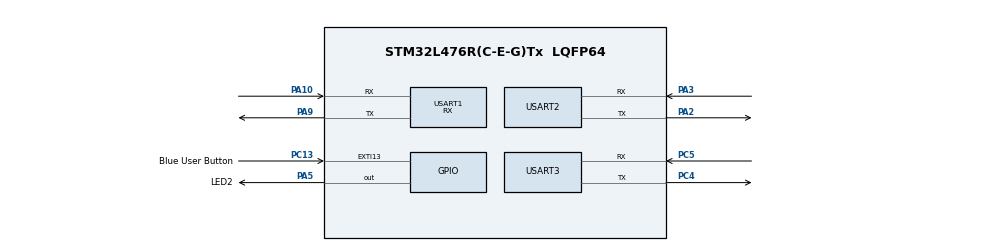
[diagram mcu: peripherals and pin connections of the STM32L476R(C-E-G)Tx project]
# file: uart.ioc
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FREERTOS.BinarySemaphores01=motorControlFlowSem,Dynamic,NULL
FREERTOS.Mutexes01=count_mutex,Dynamic,NULL
FREERTOS.Tasks01=defaultTask,0,128,StartDefaultTask,Default,NULL,Dynamic,NULL,NULL;motorCntrlTask,0,128,startMotorControlTask,Default,NULL,Dynamic,NULL,NULL
Mcu.Family=STM32L4
Mcu.Name=STM32L476R(C-E-G)Tx
Mcu.Package=LQFP64
NVIC.EXTI15_10_IRQn=true\:6\:0\:true\:false\:true\:false\:true\:true
NVIC.PriorityGroup=NVIC_PRIORITYGROUP_4
PA10.Mode=Asynchronous
PA10.Signal=USART1_RX
PA2.Mode=Asynchronous
PA2.Signal=USART2_TX
PA3.Mode=Asynchronous
PA3.Signal=USART2_RX
PA5.GPIO_Label=LED2
PA5.Signal=GPIO_Output
PA9.Mode=Asynchronous
PA9.Signal=USART1_TX
PC13.GPIO_Label=Blue User Button
PC13.Signal=GPXTI13
PC14-OSC32_IN\ (PC14).Mode=LSE-External-Oscillator
PC14-OSC32_IN\ (PC14).Signal=RCC_OSC32_IN
PC15-OSC32_OUT\ (PC15).Mode=LSE-External-Oscillator
PC15-OSC32_OUT\ (PC15).Signal=RCC_OSC32_OUT
PC4.Mode=Asynchronous
PC4.Signal=USART3_TX
PC5.Mode=Asynchronous
PC5.Signal=USART3_RX
PH0-OSC_IN\ (PH0).Mode=HSE-External-Oscillator
PH0-OSC_IN\ (PH0).Signal=RCC_OSC_IN
PH1-OSC_OUT\ (PH1).Mode=HSE-External-Oscillator
PH1-OSC_OUT\ (PH1).Signal=RCC_OSC_OUT
ProjectManager.HeapSize=0x200
ProjectManager.StackSize=0x400
ProjectManager.TargetToolchain=Makefile
RCC.HSE_VALUE=8000000
RCC.HSI_VALUE=16000000
RCC.MSI_VALUE=4000000
RCC.VCOOutputFreq_Value=32000000
STMicroelectronics.X-CUBE-BLE1.4.3.0.ApplicationCcWirelessJjApplication=SensorDemo
STMicroelectronics.X-CUBE-BLE1.4.3.0.BlueNRGAaMSCcWirelessJjController=true
STMicroelectronics.X-CUBE-BLE1.4.3.0.BlueNRGAaMSCcWirelessJjHCIIiTL=Basic
STMicroelectronics.X-CUBE-BLE1.4.3.0.BlueNRGAaMSCcWirelessJjHCIIiTLIiINTERFACE=UserBoard
STMicroelectronics.X-CUBE-BLE1.4.3.0.WirelessJjApplication.apiComponent0=Wireless\:HCI_TL
STMicroelectronics.X-CUBE-BLE1.4.3.0.WirelessJjApplication.apiComponent1=Wireless\:HCI_TL
STMicroelectronics.X-CUBE-BLE1.4.3.0.WirelessJjApplication.apiComponent2=Wireless\:HCI_TL_INTERFACE
STMicroelectronics.X-CUBE-BLE1.4.3.0.WirelessJjApplication.apiComponent3=Wireless\:HCI_TL_INTERFACE
STMicroelectronics.X-CUBE-BLE1.4.3.0.WirelessJjApplication.apiDoc0=Middlewares/ST/BlueNRG-MS/includes/hci.h
STMicroelectronics.X-CUBE-BLE1.4.3.0.WirelessJjApplication.apiDoc1=Middlewares/ST/BlueNRG-MS/doc/BlueNRG-MS_UserManual.chm
STMicroelectronics.X-CUBE-BLE1.4.3.0.WirelessJjApplication.apiDoc2=Middlewares/ST/BlueNRG-MS/hci/hci_tl_patterns/Template/hci_tl_interface.h
STMicroelectronics.X-CUBE-BLE1.4.3.0.WirelessJjApplication.apiDoc3=Middlewares/ST/BlueNRG-MS/doc/BlueNRG-MS_UserManual.chm
STMicroelectronics.X-CUBE-BLE1.4.3.0.WirelessJjApplication.cmp_version0=4.3.0
STMicroelectronics.X-CUBE-BLE1.4.3.0.WirelessJjApplication.component0=Wireless
STMicroelectronics.X-CUBE-BLE1.4.3.0.WirelessJjApplication.componentDoc0=Projects/Board_PN/Applications/SensorDemo/readme.txt
STMicroelectronics.X-CUBE-BLE1.4.3.0.WirelessJjApplication.description0=BLE sample applications for BlueNRG-MS module,SensorDemo sample application
STMicroelectronics.X-CUBE-BLE1.4.3.0.WirelessJjApplication.diagnostic0=This component should operate correctly.
STMicroelectronics.X-CUBE-BLE1.4.3.0.WirelessJjApplication.documentation0=Documentation/STMicroelectronics.X-CUBE-BLE1_GettingStarted.pdf
STMicroelectronics.X-CUBE-BLE1.4.3.0.WirelessJjApplication.group0=Application
STMicroelectronics.X-CUBE-BLE1.4.3.0.WirelessJjApplication.paramName0=ApplicationCcWirelessJjApplication
STMicroelectronics.X-CUBE-BLE1.4.3.0.WirelessJjApplication.sevirity0=none
STMicroelectronics.X-CUBE-BLE1.4.3.0.WirelessJjApplication.variant0=SensorDemo
STMicroelectronics.X-CUBE-BLE1.4.3.0.WirelessJjApplication_apiSize=4
STMicroelectronics.X-CUBE-BLE1.4.3.0.WirelessJjApplication_bundle=Application
STMicroelectronics.X-CUBE-BLE1.4.3.0.WirelessJjApplication_class=Wireless
STMicroelectronics.X-CUBE-BLE1.4.3.0.WirelessJjApplication_name=X-CUBE-BLE1
STMicroelectronics.X-CUBE-BLE1.4.3.0.WirelessJjApplication_size=1
STMicroelectronics.X-CUBE-BLE1.4.3.0.WirelessJjApplication_vendor=STMicroelectronics
STMicroelectronics.X-CUBE-BLE1.4.3.0.WirelessJjApplication_version=4.3.0
STMicroelectronics.X-CUBE-BLE1.4.3.0.WirelessJjBlueNRGAaMS.apiComponent0=Wireless\:HCI_TL
STMicroelectronics.X-CUBE-BLE1.4.3.0.WirelessJjBlueNRGAaMS.apiComponent1=Wireless\:HCI_TL
STMicroelectronics.X-CUBE-BLE1.4.3.0.WirelessJjBlueNRGAaMS.apiComponent2=Wireless\:HCI_TL_INTERFACE
STMicroelectronics.X-CUBE-BLE1.4.3.0.WirelessJjBlueNRGAaMS.apiComponent3=Wireless\:HCI_TL_INTERFACE
STMicroelectronics.X-CUBE-BLE1.4.3.0.WirelessJjBlueNRGAaMS.apiDoc0=Middlewares/ST/BlueNRG-MS/includes/hci.h
STMicroelectronics.X-CUBE-BLE1.4.3.0.WirelessJjBlueNRGAaMS.apiDoc1=Middlewares/ST/BlueNRG-MS/doc/BlueNRG-MS_UserManual.chm
STMicroelectronics.X-CUBE-BLE1.4.3.0.WirelessJjBlueNRGAaMS.apiDoc2=Middlewares/ST/BlueNRG-MS/hci/hci_tl_patterns/Template/hci_tl_interface.h
STMicroelectronics.X-CUBE-BLE1.4.3.0.WirelessJjBlueNRGAaMS.apiDoc3=Middlewares/ST/BlueNRG-MS/doc/BlueNRG-MS_UserManual.chm
STMicroelectronics.X-CUBE-BLE1.4.3.0.WirelessJjBlueNRGAaMS.cmp_version0=4.3.0
STMicroelectronics.X-CUBE-BLE1.4.3.0.WirelessJjBlueNRGAaMS.cmp_version1=4.3.0
STMicroelectronics.X-CUBE-BLE1.4.3.0.WirelessJjBlueNRGAaMS.cmp_version2=4.3.0
STMicroelectronics.X-CUBE-BLE1.4.3.0.WirelessJjBlueNRGAaMS.component0=Wireless
STMicroelectronics.X-CUBE-BLE1.4.3.0.WirelessJjBlueNRGAaMS.component1=Wireless
STMicroelectronics.X-CUBE-BLE1.4.3.0.WirelessJjBlueNRGAaMS.component2=Wireless
STMicroelectronics.X-CUBE-BLE1.4.3.0.WirelessJjBlueNRGAaMS.componentDoc1=Middlewares/ST/BlueNRG-MS/doc/BlueNRG-MS_UserManual.chm
STMicroelectronics.X-CUBE-BLE1.4.3.0.WirelessJjBlueNRGAaMS.description0=Host Controller Interface (HCI)
STMicroelectronics.X-CUBE-BLE1.4.3.0.WirelessJjBlueNRGAaMS.description1=Basic HCI Transport Layer (use a basic set of already implemented APIs)
STMicroelectronics.X-CUBE-BLE1.4.3.0.WirelessJjBlueNRGAaMS.description2=HCI Transport Layer Interface based on User Board definition (use a basic set of already implemented APIs)
STMicroelectronics.X-CUBE-BLE1.4.3.0.WirelessJjBlueNRGAaMS.diagnostic0=This component requires one or more component from the same SW pack to operate correctly
STMicroelectronics.X-CUBE-BLE1.4.3.0.WirelessJjBlueNRGAaMS.diagnostic1=This component should operate correctly.
STMicroelectronics.X-CUBE-BLE1.4.3.0.WirelessJjBlueNRGAaMS.diagnostic2=This component should operate correctly.
STMicroelectronics.X-CUBE-BLE1.4.3.0.WirelessJjBlueNRGAaMS.documentation0=Documentation/STMicroelectronics.X-CUBE-BLE1_GettingStarted.pdf
STMicroelectronics.X-CUBE-BLE1.4.3.0.WirelessJjBlueNRGAaMS.documentation1=Documentation/STMicroelectronics.X-CUBE-BLE1_GettingStarted.pdf
STMicroelectronics.X-CUBE-BLE1.4.3.0.WirelessJjBlueNRGAaMS.documentation2=Documentation/STMicroelectronics.X-CUBE-BLE1_GettingStarted.pdf
STMicroelectronics.X-CUBE-BLE1.4.3.0.WirelessJjBlueNRGAaMS.group0=Controller
STMicroelectronics.X-CUBE-BLE1.4.3.0.WirelessJjBlueNRGAaMS.group1=HCI_TL
STMicroelectronics.X-CUBE-BLE1.4.3.0.WirelessJjBlueNRGAaMS.group2=HCI_TL_INTERFACE
STMicroelectronics.X-CUBE-BLE1.4.3.0.WirelessJjBlueNRGAaMS.paramName0=BlueNRGAaMSCcWirelessJjController
STMicroelectronics.X-CUBE-BLE1.4.3.0.WirelessJjBlueNRGAaMS.paramName1=BlueNRGAaMSCcWirelessJjHCIIiTL
STMicroelectronics.X-CUBE-BLE1.4.3.0.WirelessJjBlueNRGAaMS.paramName2=BlueNRGAaMSCcWirelessJjHCIIiTLIiINTERFACE
STMicroelectronics.X-CUBE-BLE1.4.3.0.WirelessJjBlueNRGAaMS.sevirity0=minor
STMicroelectronics.X-CUBE-BLE1.4.3.0.WirelessJjBlueNRGAaMS.sevirity1=none
STMicroelectronics.X-CUBE-BLE1.4.3.0.WirelessJjBlueNRGAaMS.sevirity2=none
STMicroelectronics.X-CUBE-BLE1.4.3.0.WirelessJjBlueNRGAaMS.variant1=Basic
STMicroelectronics.X-CUBE-BLE1.4.3.0.WirelessJjBlueNRGAaMS.variant2=UserBoard
STMicroelectronics.X-CUBE-BLE1.4.3.0.WirelessJjBlueNRGAaMS_apiSize=4
STMicroelectronics.X-CUBE-BLE1.4.3.0.WirelessJjBlueNRGAaMS_bundle=BlueNRG-MS
STMicroelectronics.X-CUBE-BLE1.4.3.0.WirelessJjBlueNRGAaMS_class=Wireless
STMicroelectronics.X-CUBE-BLE1.4.3.0.WirelessJjBlueNRGAaMS_name=X-CUBE-BLE1
STMicroelectronics.X-CUBE-BLE1.4.3.0.WirelessJjBlueNRGAaMS_size=3
STMicroelectronics.X-CUBE-BLE1.4.3.0.WirelessJjBlueNRGAaMS_vendor=STMicroelectronics
STMicroelectronics.X-CUBE-BLE1.4.3.0.WirelessJjBlueNRGAaMS_version=4.3.0
STMicroelectronics.X-CUBE-BLE1.4.3.0_MwName0=BlueNRG-MS
STMicroelectronics.X-CUBE-BLE1.4.3.0_MwName1=Application
STMicroelectronics.X-CUBE-BLE1.4.3.0_NumberOfMw=2
STMicroelectronics.X-CUBE-BLE1.4.3.0_WirelessJjApplication_RteComponent0=\#define SENSOR_DEMO
STMicroelectronics.X-CUBE-BLE1.4.3.0_WirelessJjApplication_RteComponentsize=1
STMicroelectronics.X-CUBE-BLE1.4.3.0_WirelessJjBlueNRGAaMS_RteComponent0=\#define HCI_TL
STMicroelectronics.X-CUBE-BLE1.4.3.0_WirelessJjBlueNRGAaMS_RteComponent1=\#define HCI_TL_INTERFACE
STMicroelectronics.X-CUBE-BLE1.4.3.0_WirelessJjBlueNRGAaMS_RteComponentsize=2
STMicroelectronics.X-CUBE-BLE1.4.3.0_description=BLE stack and sample applications for BlueNRG-MS module
STMicroelectronics.X-CUBE-BLE1.4.3.0_license=en.DM00367782.pdf
USART1.Mode=MODE_RX
USART1.VirtualMode-Asynchronous=VM_ASYNC
USART2.VirtualMode-Asynchronous=VM_ASYNC
USART3.VirtualMode-Asynchronous=VM_ASYNC
VP_FREERTOS_VS_CMSIS_V1.Mode=CMSIS_V1
board=custom

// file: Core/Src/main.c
/* USER CODE BEGIN Header */
/**
 ******************************************************************************
 * @file           : main.c
 * @brief          : Main program body
 ******************************************************************************
 * @attention
 *
 * <h2><center>&copy; Copyright (c) 2019 STMicroelectronics.
 * All rights reserved.</center></h2>
 *
 * This software component is licensed by ST under Ultimate Liberty license
 * SLA0044, the "License"; You may not use this file except in compliance with
 * the License. You may obtain a copy of the License at:
 *                             www.st.com/SLA0044
 *
 ******************************************************************************
 */
/* USER CODE END Header */

#include "main.h"
#include "cmsis_os.h"

/* USER CODE BEGIN Includes */
#include "stdio.h"
#include "string.h"
/* USER CODE END Includes */

UART_HandleTypeDef huart1;
UART_HandleTypeDef huart2;
UART_HandleTypeDef huart3;

osThreadId defaultTaskHandle;
osThreadId motorCntrlTaskHandle;
osMutexId count_mutexHandle;
osSemaphoreId motorControlFlowSemHandle;
/* USER CODE BEGIN PV */
int button_counter = 0;

/* USER CODE END PV */

void SystemClock_Config(void);
static void MX_GPIO_Init(void);
static void MX_USART2_UART_Init(void);
static void MX_USART3_UART_Init(void);
static void MX_USART1_UART_Init(void);
void StartDefaultTask(void const * argument);
void startMotorControlTask(void const * argument);

int main(void)
{

  /* MCU Configuration--------------------------------------------------------*/

  /* Reset of all peripherals, Initializes the Flash interface and the Systick. */
  HAL_Init();

  /* Configure the system clock */
  SystemClock_Config();

  /* Initialize all configured peripherals */
  MX_GPIO_Init();
  MX_USART2_UART_Init();
  MX_USART3_UART_Init();
  MX_USART1_UART_Init();

  /* Create the mutex(es) */
  /* definition and creation of count_mutex */
  osMutexDef(count_mutex);
  count_mutexHandle = osMutexCreate(osMutex(count_mutex));

  /* Create the semaphores(s) */
  /* definition and creation of motorControlFlowSem */
  osSemaphoreDef(motorControlFlowSem);
  motorControlFlowSemHandle = osSemaphoreCreate(osSemaphore(motorControlFlowSem), 1);

  /* USER CODE BEGIN RTOS_SEMAPHORES */
  /* add semaphores, ... */
  xSemaphoreTake(motorControlFlowSemHandle, 0);
  /* USER CODE END RTOS_SEMAPHORES */

  /* Create the thread(s) */
  /* definition and creation of defaultTask */
  osThreadDef(defaultTask, StartDefaultTask, osPriorityNormal, 0, 128);
  defaultTaskHandle = osThreadCreate(osThread(defaultTask), NULL);

  /* definition and creation of motorCntrlTask */
  osThreadDef(motorCntrlTask, startMotorControlTask, osPriorityNormal, 0, 128);
  motorCntrlTaskHandle = osThreadCreate(osThread(motorCntrlTask), NULL);

  /* Start scheduler */
  osKernelStart();

  /* We should never get here as control is now taken by the scheduler */

  /* Infinite loop */
  while (1) {

  }
}

void SystemClock_Config(void)
{
  RCC_OscInitTypeDef RCC_OscInitStruct = {0};
  RCC_ClkInitTypeDef RCC_ClkInitStruct = {0};
  RCC_PeriphCLKInitTypeDef PeriphClkInit = {0};

  /** Configure LSE Drive Capability
  */
  HAL_PWR_EnableBkUpAccess();
  __HAL_RCC_LSEDRIVE_CONFIG(RCC_LSEDRIVE_LOW);
  /** Initializes the CPU, AHB and APB busses clocks
  */
  RCC_OscInitStruct.OscillatorType = RCC_OSCILLATORTYPE_LSE|RCC_OSCILLATORTYPE_MSI;
  RCC_OscInitStruct.LSEState = RCC_LSE_ON;
  RCC_OscInitStruct.MSIState = RCC_MSI_ON;
  RCC_OscInitStruct.MSICalibrationValue = 0;
  RCC_OscInitStruct.MSIClockRange = RCC_MSIRANGE_6;
  RCC_OscInitStruct.PLL.PLLState = RCC_PLL_NONE;
  if (HAL_RCC_OscConfig(&RCC_OscInitStruct) != HAL_OK)
  {
    Error_Handler();
  }
  /** Initializes the CPU, AHB and APB busses clocks
  */
  RCC_ClkInitStruct.ClockType = RCC_CLOCKTYPE_HCLK|RCC_CLOCKTYPE_SYSCLK
                              |RCC_CLOCKTYPE_PCLK1|RCC_CLOCKTYPE_PCLK2;
  RCC_ClkInitStruct.SYSCLKSource = RCC_SYSCLKSOURCE_MSI;
  RCC_ClkInitStruct.AHBCLKDivider = RCC_SYSCLK_DIV1;
  RCC_ClkInitStruct.APB1CLKDivider = RCC_HCLK_DIV1;
  RCC_ClkInitStruct.APB2CLKDivider = RCC_HCLK_DIV1;

  if (HAL_RCC_ClockConfig(&RCC_ClkInitStruct, FLASH_LATENCY_0) != HAL_OK)
  {
    Error_Handler();
  }
  PeriphClkInit.PeriphClockSelection = RCC_PERIPHCLK_USART1|RCC_PERIPHCLK_USART2
                              |RCC_PERIPHCLK_USART3;
  PeriphClkInit.Usart1ClockSelection = RCC_USART1CLKSOURCE_PCLK2;
  PeriphClkInit.Usart2ClockSelection = RCC_USART2CLKSOURCE_PCLK1;
  PeriphClkInit.Usart3ClockSelection = RCC_USART3CLKSOURCE_PCLK1;
  if (HAL_RCCEx_PeriphCLKConfig(&PeriphClkInit) != HAL_OK)
  {
    Error_Handler();
  }
  /** Configure the main internal regulator output voltage
  */
  if (HAL_PWREx_ControlVoltageScaling(PWR_REGULATOR_VOLTAGE_SCALE1) != HAL_OK)
  {
    Error_Handler();
  }
  /** Enable MSI Auto calibration
  */
  HAL_RCCEx_EnableMSIPLLMode();
}

static void MX_USART1_UART_Init(void)
{

  huart1.Instance = USART1;
  huart1.Init.BaudRate = 115200;
  huart1.Init.WordLength = UART_WORDLENGTH_8B;
  huart1.Init.StopBits = UART_STOPBITS_1;
  huart1.Init.Parity = UART_PARITY_NONE;
  huart1.Init.Mode = UART_MODE_RX;
  huart1.Init.HwFlowCtl = UART_HWCONTROL_NONE;
  huart1.Init.OverSampling = UART_OVERSAMPLING_16;
  huart1.Init.OneBitSampling = UART_ONE_BIT_SAMPLE_DISABLE;
  huart1.AdvancedInit.AdvFeatureInit = UART_ADVFEATURE_NO_INIT;
  if (HAL_UART_Init(&huart1) != HAL_OK)
  {
    Error_Handler();
  }

}

static void MX_USART2_UART_Init(void)
{

  huart2.Instance = USART2;
  huart2.Init.BaudRate = 115200;
  huart2.Init.WordLength = UART_WORDLENGTH_8B;
  huart2.Init.StopBits = UART_STOPBITS_1;
  huart2.Init.Parity = UART_PARITY_NONE;
  huart2.Init.Mode = UART_MODE_TX_RX;
  huart2.Init.HwFlowCtl = UART_HWCONTROL_NONE;
  huart2.Init.OverSampling = UART_OVERSAMPLING_16;
  huart2.Init.OneBitSampling = UART_ONE_BIT_SAMPLE_DISABLE;
  huart2.AdvancedInit.AdvFeatureInit = UART_ADVFEATURE_NO_INIT;
  if (HAL_UART_Init(&huart2) != HAL_OK)
  {
    Error_Handler();
  }

}

static void MX_USART3_UART_Init(void)
{

  /* USER CODE BEGIN USART3_Init 0 */
  // pins TX PC4 - RX PC5
  /* USER CODE END USART3_Init 0 */

  huart3.Instance = USART3;
  huart3.Init.BaudRate = 115200;
  huart3.Init.WordLength = UART_WORDLENGTH_8B;
  huart3.Init.StopBits = UART_STOPBITS_1;
  huart3.Init.Parity = UART_PARITY_NONE;
  huart3.Init.Mode = UART_MODE_TX_RX;
  huart3.Init.HwFlowCtl = UART_HWCONTROL_NONE;
  huart3.Init.OverSampling = UART_OVERSAMPLING_16;
  huart3.Init.OneBitSampling = UART_ONE_BIT_SAMPLE_DISABLE;
  huart3.AdvancedInit.AdvFeatureInit = UART_ADVFEATURE_NO_INIT;
  if (HAL_UART_Init(&huart3) != HAL_OK)
  {
    Error_Handler();
  }

}

static void MX_GPIO_Init(void)
{
  GPIO_InitTypeDef GPIO_InitStruct = {0};

  /* GPIO Ports Clock Enable */
  __HAL_RCC_GPIOC_CLK_ENABLE();
  __HAL_RCC_GPIOH_CLK_ENABLE();
  __HAL_RCC_GPIOA_CLK_ENABLE();

  /*Configure GPIO pin Output Level */
  HAL_GPIO_WritePin(LED2_GPIO_Port, LED2_Pin, GPIO_PIN_RESET);

  /*Configure GPIO pin : Blue_User_Button_Pin */
  GPIO_InitStruct.Pin = Blue_User_Button_Pin;
  GPIO_InitStruct.Mode = GPIO_MODE_IT_RISING;
  GPIO_InitStruct.Pull = GPIO_NOPULL;
  HAL_GPIO_Init(Blue_User_Button_GPIO_Port, &GPIO_InitStruct);

  /*Configure GPIO pin : LED2_Pin */
  GPIO_InitStruct.Pin = LED2_Pin;
  GPIO_InitStruct.Mode = GPIO_MODE_OUTPUT_PP;
  GPIO_InitStruct.Pull = GPIO_NOPULL;
  GPIO_InitStruct.Speed = GPIO_SPEED_FREQ_LOW;
  HAL_GPIO_Init(LED2_GPIO_Port, &GPIO_InitStruct);

  /* EXTI interrupt init*/
  HAL_NVIC_SetPriority(EXTI15_10_IRQn, 6, 0);
  HAL_NVIC_EnableIRQ(EXTI15_10_IRQn);

}

/* USER CODE BEGIN 4 */
void
debugPrint(UART_HandleTypeDef* huart, char out[])
{
  HAL_UART_Transmit(huart, (uint8_t*)out, strlen(out), 10);
}

void
debugPrintLn(UART_HandleTypeDef* huart, char out[])
{
  HAL_UART_Transmit(huart, (uint8_t*)out, strlen(out), 10);
  char newline[2] = "\r\n";
  HAL_UART_Transmit(huart, (uint8_t*)newline, 2, 10);
}

void
increase_button_counter(void)
{
  // osMutexWait(count_mutexHandle, 0);
  xSemaphoreGiveFromISR(motorControlFlowSemHandle, NULL);
  // osMutexRelease(count_mutexHandle);
  // debugPrintLn(&huart2, "increase_button_counter called");
}
/* USER CODE END 4 */

void StartDefaultTask(void const * argument)
{

  /* USER CODE BEGIN 5 */
  /* Infinite loop */
  debugPrint(&huart2, "oi mate !");
  debugPrint(&huart2, "enter message (4 char) \r\n");
  for (;;) {
    char in[4] = { 0 };
    int current_count;
    // osMutexWait(count_mutexHandle, 0);
    current_count = button_counter;
    // osMutexRelease(count_mutexHandle);

    if (in[0] != '\0') {
      char status_msg[50];
      snprintf(status_msg, 50, "][BC=%d]", current_count);
      debugPrint(&huart2, "\r\ngot message: [");
      debugPrint(&huart2, in);
      debugPrintLn(&huart2, status_msg);
    }
  }
  /* USER CODE END 5 */
}

void startMotorControlTask(void const * argument)
{
  /* USER CODE BEGIN startMotorControlTask */
  /* Infinite loop */
  int numMotorCalled= 0;
  for (;;) {
    if (xSemaphoreTake(motorControlFlowSemHandle, 3000)) {
      // running motor flow
      ++numMotorCalled;
      char out[10];
      // snprintf(out, 10, ".%d.", numMotorCalled%10);
      out[0] = 0x0f;
      // out[1] = 0xaa;
      out[1] = 0b10101010;
      out[2] = 0x0;

      debugPrintLn(&huart2, out);
      debugPrint(&huart3, out);
      char in[20];
      HAL_UART_Receive(&huart1, (uint8_t* ) in, 20, 2000);
      debugPrint(&huart2, "got from 1: ");
      debugPrintLn(&huart2, in);
    } else {
      debugPrintLn(&huart2, "no motor flow");
    }
  }

  /* USER CODE END startMotorControlTask */
}

void Error_Handler(void)
{
}

#ifdef  USE_FULL_ASSERT
/**
  * @brief  Reports the name of the source file and the source line number
  *         where the assert_param error has occurred.
  * @param  file: pointer to the source file name
  * @param  line: assert_param error line source number
  * @retval None
  */
void assert_failed(char *file, uint32_t line)
{
  /* USER CODE BEGIN 6 */
  /* User can add his own implementation to report the file name and line
     number,
     tex: printf("Wrong parameters value: file %s on line %d\r\n", file, line)
   */
  /* USER CODE END 6 */
}
#endif /* USE_FULL_ASSERT */

/************************ (C) COPYRIGHT STMicroelectronics *****END OF FILE****/
